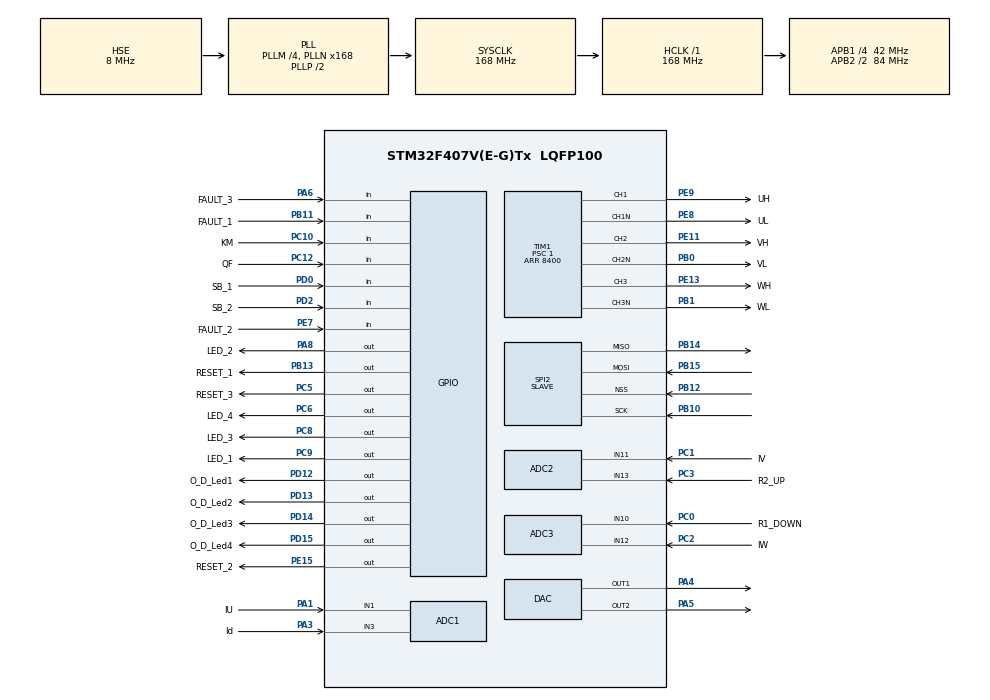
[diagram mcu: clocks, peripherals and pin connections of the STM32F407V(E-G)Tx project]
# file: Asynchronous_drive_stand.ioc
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Dma.SPI2_TX.2.PeriphInc=DMA_PINC_DISABLE
Dma.SPI2_TX.2.MemInc=DMA_MINC_ENABLE
PD12.GPIO_Label=O_D_Led1
PH0-OSC_IN.Signal=RCC_OSC_IN
ADC2.SamplingTime-1\#ChannelRegularConversion=ADC_SAMPLETIME_3CYCLES
SPI2.VirtualType=VM_SLAVE
PB10.Mode=Full_Duplex_Slave
TIM1.Pulse-PWM\ Generation1\ CH1\ CH1N=4200
PC12.Signal=GPIO_Input
PC6.GPIO_Label=LED_4
PA6.GPIO_Label=FAULT_3
Dma.SPI2_RX.1.Mode=DMA_CIRCULAR
PB13.Signal=GPIO_Output
RCC.SYSCLKSource=RCC_SYSCLKSOURCE_PLLCLK
TIM1.Pulse-PWM\ Generation2\ CH2\ CH2N=4200
Dma.SPI2_RX.1.PeriphDataAlignment=DMA_PDATAALIGN_HALFWORD
RCC.APB2TimFreq_Value=168000000
Dma.ADC1.0.Direction=DMA_PERIPH_TO_MEMORY
PC3.Signal=ADCx_IN13
PD0.Signal=GPIO_Input
Dma.ADC1.0.MemDataAlignment=DMA_MDATAALIGN_HALFWORD
Dma.SPI2_RX.1.FIFOMode=DMA_FIFOMODE_DISABLE
PE9.Signal=S_TIM1_CH1
PB14.Mode=Full_Duplex_Slave
PB1.GPIO_Label=WL
ADC1.DMAAccessMode=ADC_DMAACCESSMODE_1
Dma.ADC1.0.PeriphInc=DMA_PINC_DISABLE
TIM1.DeadTime=250
PA8.Signal=GPIO_Output
VP_TIM1_VS_ClockSourceINT.Mode=Internal
ADC1.SamplingTime-0\#ChannelRegularConversion=ADC_SAMPLETIME_3CYCLES
Mcu.Package=LQFP100
PB1.Signal=TIM1_CH3N
SPI2.Mode=SPI_MODE_SLAVE
PD12.Signal=GPIO_Output
Dma.SPI2_TX.2.Mode=DMA_CIRCULAR
ADC2.Channel-1\#ChannelRegularConversion=ADC_CHANNEL_13
ADC3.Rank-0\#ChannelRegularConversion=1
Dma.SPI2_RX.1.Instance=DMA1_Stream3
RCC.APB2CLKDivider=RCC_HCLK_DIV2
RCC.APB1TimFreq_Value=84000000
Dma.ADC1.0.FIFOMode=DMA_FIFOMODE_DISABLE
TIM1.Period=8400
PD15.Signal=GPIO_Output
ADC2.DMAAccessMode=ADC_DMAACCESSMODE_1
TIM1.OCPolarity_1=TIM_OCPOLARITY_HIGH
TIM1.OCPolarity_3=TIM_OCPOLARITY_HIGH
Dma.ADC1.0.Instance=DMA2_Stream0
TIM1.OCPolarity_2=TIM_OCPOLARITY_HIGH
ADC1.Rank-0\#ChannelRegularConversion=1
TIM3.Channel-Output\ Compare1\ No\ Output=TIM_CHANNEL_1
TIM1.CounterMode=TIM_COUNTERMODE_CENTERALIGNED1
PC2.Signal=ADCx_IN12
PC6.Signal=GPIO_Output
PB11.GPIO_Label=FAULT_1
TIM1.Channel-PWM\ Generation1\ CH1\ CH1N=TIM_CHANNEL_1
PC0.Signal=ADCx_IN10
RCC.APB1CLKDivider=RCC_HCLK_DIV4
PE8.Mode=PWM Generation1 CH1 CH1N
TIM1.Channel-PWM\ Generation2\ CH2\ CH2N=TIM_CHANNEL_2
PA8.GPIO_Label=LED_2
PE8.GPIO_Label=UL
Dma.ADC1.0.Priority=DMA_PRIORITY_LOW
TIM1.Channel-PWM\ Generation3\ CH3\ CH3N=TIM_CHANNEL_3
ADC3.NbrOfConversion=2
PE9.GPIO_Label=UH
PB10.Signal=SPI2_SCK
PB14.Signal=SPI2_MISO
PA5.Signal=COMP_DAC2_group
VP_TIM3_VS_no_output1.Mode=Output Compare1 No Output
TIM1.TIM_MasterOutputTrigger=TIM_TRGO_ENABLE
PE15.Signal=GPIO_Output
TIM3.OCMode_1=TIM_OCMODE_TOGGLE
PE8.Signal=TIM1_CH1N
PA1.GPIO_Label=IU
ADC1.DMAContinuousRequests=ENABLE
TIM1.Pulse-PWM\ Generation3\ CH3\ CH3N=4200
ADC3.Channel-1\#ChannelRegularConversion=ADC_CHANNEL_10
ADC1.ExternalTrigConv=ADC_EXTERNALTRIGCONV_T3_CC1
ADC3.Rank-1\#ChannelRegularConversion=2
ADC1.SamplingTime-1\#ChannelRegularConversion=ADC_SAMPLETIME_3CYCLES
PA4.Signal=COMP_DAC1_group
ADC1.master=1
PE13.GPIO_Label=WH
ADC2.NbrOfConversionFlag=1
PC12.GPIO_Label=QF
ADC1.Rank-1\#ChannelRegularConversion=2
ProjectManager.HeapSize=0x200
PB1.Mode=PWM Generation3 CH3 CH3N
NVIC.TIM1_UP_TIM10_IRQn=true\:0\:0\:false\:false\:true\:true\:true
NVIC.PriorityGroup=NVIC_PRIORITYGROUP_4
PC3.GPIO_Label=R2_UP
SPI2.DataSize=SPI_DATASIZE_16BIT
PD2.Signal=GPIO_Input
PB0.Signal=TIM1_CH2N
Dma.SPI2_RX.1.MemInc=DMA_MINC_ENABLE
PC1.Signal=ADCx_IN11
PD2.GPIO_Label=SB_2
Mcu.Family=STM32F4
SPI2.VirtualNSS=VM_NSSHARD
Dma.SPI2_RX.1.MemDataAlignment=DMA_MDATAALIGN_HALFWORD
RCC.CortexFreq_Value=168000000
ADC2.Channel-0\#ChannelRegularConversion=ADC_CHANNEL_11
PE11.GPIO_Label=VH
PC10.Signal=GPIO_Input
PC0.GPIO_Label=R1_DOWN
PD0.GPIO_Label=SB_1
PB0.GPIO_Label=VL
PB13.GPIO_Label=RESET_1
PB11.Signal=GPIO_Input
PB15.Signal=SPI2_MOSI
ADC3.Channel-0\#ChannelRegularConversion=ADC_CHANNEL_12
Dma.SPI2_RX.1.Direction=DMA_PERIPH_TO_MEMORY
ProjectManager.StackSize=0x400
SH.COMP_DAC2_group.0=DAC_OUT2,DAC_OUT2
PD13.Signal=GPIO_Output
TIM1.Prescaler=1
ADC1.Mode=ADC_TRIPLEMODE_REGSIMULT
RCC.HCLKFreq_Value=168000000
SH.ADCx_IN3.0=ADC1_IN3,IN3
TIM3.Period=4200
Dma.SPI2_TX.2.PeriphDataAlignment=DMA_PDATAALIGN_HALFWORD
Dma.SPI2_TX.2.Instance=DMA1_Stream4
RCC.AHBFreq_Value=168000000
PH0-OSC_IN.Mode=HSE-External-Oscillator
ADC3.SamplingTime-1\#ChannelRegularConversion=ADC_SAMPLETIME_3CYCLES
ADC1.Channel-0\#ChannelRegularConversion=ADC_CHANNEL_1
RCC.HSE_VALUE=8000000
PE13.Signal=S_TIM1_CH3
VP_TIM3_VS_ClockSourceITR.Mode=TriggerSource_ITR0
Dma.SPI2_TX.2.MemDataAlignment=DMA_MDATAALIGN_HALFWORD
PH1-OSC_OUT.Mode=HSE-External-Oscillator
PD13.GPIO_Label=O_D_Led2
PA6.Signal=GPIO_Input
PB12.Mode=NSS_Signal_Hard_Input
Dma.SPI2_TX.2.Priority=DMA_PRIORITY_LOW
ADC2.SamplingTime-0\#ChannelRegularConversion=ADC_SAMPLETIME_3CYCLES
SH.ADCx_IN1.0=ADC1_IN1,IN1
ADC2.NbrOfConversion=2
Dma.Request2=SPI2_TX
Dma.Request1=SPI2_RX
SPI2.Direction=SPI_DIRECTION_2LINES
PC5.Signal=GPIO_Output
PE7.Signal=GPIO_Input
ADC2.Rank-0\#ChannelRegularConversion=1
Dma.Request0=ADC1
PC2.GPIO_Label=IW
VP_TIM3_VS_ClockSourceINT.Mode=Internal
PA3.Signal=ADCx_IN3
RCC.PLLSourceVirtual=RCC_PLLSOURCE_HSE
SH.COMP_DAC1_group.0=DAC_OUT1,DAC_OUT1
SH.ADCx_IN13.0=ADC2_IN13,IN13
ADC2.Mode=ADC_TRIPLEMODE_REGSIMULT
PD15.GPIO_Label=O_D_Led4
TIM1.OffStateIDLEMode=TIM_OSSI_DISABLE
PC10.GPIO_Label=KM
PC9.GPIO_Label=LED_1
PC8.Signal=GPIO_Output
PC8.GPIO_Label=LED_3
Dma.ADC1.0.PeriphDataAlignment=DMA_PDATAALIGN_HALFWORD
SH.ADCx_IN12.0=ADC3_IN12,IN12
ADC3.SamplingTime-0\#ChannelRegularConversion=ADC_SAMPLETIME_3CYCLES
SH.S_TIM1_CH1.0=TIM1_CH1,PWM Generation1 CH1 CH1N
PE15.GPIO_Label=RESET_2
ProjectManager.TargetToolchain=STM32CubeIDE
Dma.ADC1.0.Mode=DMA_CIRCULAR
Dma.SPI2_TX.2.Direction=DMA_MEMORY_TO_PERIPH
Dma.SPI2_TX.2.FIFOMode=DMA_FIFOMODE_DISABLE
ADC1.Channel-1\#ChannelRegularConversion=ADC_CHANNEL_3
PE11.Signal=S_TIM1_CH2
RCC.LSE_VALUE=32768
PA1.Signal=ADCx_IN1
PB0.Mode=PWM Generation2 CH2 CH2N
board=custom
RCC.VCOOutputFreq_Value=336000000
TIM1.OCNPolarity_1=TIM_OCNPOLARITY_HIGH
PB15.Mode=Full_Duplex_Slave
RCC.APB2Freq_Value=84000000
TIM1.OCNPolarity_3=TIM_OCNPOLARITY_HIGH
TIM1.OCNPolarity_2=TIM_OCNPOLARITY_HIGH
SH.ADCx_IN11.0=ADC2_IN11,IN11
Dma.SPI2_RX.1.Priority=DMA_PRIORITY_LOW
SH.S_TIM1_CH2.0=TIM1_CH2,PWM Generation2 CH2 CH2N
PC1.GPIO_Label=IV
PH1-OSC_OUT.Signal=RCC_OSC_OUT
PD14.GPIO_Label=O_D_Led3
TIM1.OffStateRunMode=TIM_OSSR_DISABLE
ADC1.NbrOfConversion=2
Dma.SPI2_RX.1.PeriphInc=DMA_PINC_DISABLE
Mcu.Name=STM32F407V(E-G)Tx
PE7.GPIO_Label=FAULT_2
PD14.Signal=GPIO_Output
RCC.48MHZClocksFreq_Value=84000000
RCC.SYSCLKFreq_VALUE=168000000
PC5.GPIO_Label=RESET_3
TIM3.TIM_MasterSlaveMode=TIM_MASTERSLAVEMODE_ENABLE
Dma.ADC1.0.MemInc=DMA_MINC_ENABLE
SH.ADCx_IN10.0=ADC3_IN10,IN10
SH.S_TIM1_CH3.0=TIM1_CH3,PWM Generation3 CH3 CH3N
RCC.HSI_VALUE=16000000
ADC1.NbrOfConversionFlag=1
RCC.PLLM=4
VP_TIM3_VS_ControllerModeGated.Mode=Gated Mode
RCC.PLLN=168
ADC2.Rank-1\#ChannelRegularConversion=2
PC9.Signal=GPIO_Output
RCC.APB1Freq_Value=42000000
ADC3.NbrOfConversionFlag=1
PB12.Signal=SPI2_NSS
PA3.GPIO_Label=Id

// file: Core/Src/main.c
/* USER CODE BEGIN Header */
/**
  ******************************************************************************
  * @file           : main.c
  * @brief          : Main program body
  ******************************************************************************
  * @attention
  *
  * <h2><center>&copy; Copyright (c) 2019 STMicroelectronics.
  * All rights reserved.</center></h2>
  *
  * This software component is licensed by ST under BSD 3-Clause license,
  * the "License"; You may not use this file except in compliance with the
  * License. You may obtain a copy of the License at:
  *                        opensource.org/licenses/BSD-3-Clause
  *
  ******************************************************************************
  */
/* USER CODE END Header */
#include "main.h"

/* USER CODE BEGIN Includes */
#include "DSP_Kechkin_CM4.h"
/* USER CODE END Includes */

ADC_HandleTypeDef hadc1;
ADC_HandleTypeDef hadc2;
ADC_HandleTypeDef hadc3;
DMA_HandleTypeDef hdma_adc1;

DAC_HandleTypeDef hdac;

SPI_HandleTypeDef hspi2;
DMA_HandleTypeDef hdma_spi2_rx;
DMA_HandleTypeDef hdma_spi2_tx;

TIM_HandleTypeDef htim1;
TIM_HandleTypeDef htim3;

/* USER CODE BEGIN PV */

extern Speed_structure speed;

/* USER CODE END PV */

void SystemClock_Config(void);
static void MX_GPIO_Init(void);
static void MX_DMA_Init(void);
static void MX_ADC1_Init(void);
static void MX_ADC2_Init(void);
static void MX_ADC3_Init(void);
static void MX_TIM1_Init(void);
static void MX_TIM3_Init(void);
static void MX_DAC_Init(void);
static void MX_SPI2_Init(void);

int main(void)
{

  /* MCU Configuration--------------------------------------------------------*/

  /* Reset of all peripherals, Initializes the Flash interface and the Systick. */
  HAL_Init();

  /* Configure the system clock */
  SystemClock_Config();

  /* Initialize all configured peripherals */
  MX_GPIO_Init();
  MX_DMA_Init();
  MX_ADC1_Init();
  MX_ADC2_Init();
  MX_ADC3_Init();
  MX_TIM1_Init();
  MX_TIM3_Init();
  MX_DAC_Init();
  MX_SPI2_Init();
  /* USER CODE BEGIN 2 */
Device_DAC_ON();

Device_ADC_Start(Device_ADC_Buf,6);

/*                                    ENCODER SPI-DMA INIT                          */
  HAL_SPI_Init(&hspi2);
  HAL_SPI_MspInit(&hspi2);
  HAL_NVIC_DisableIRQ(DMA1_Stream3_IRQn);
  HAL_NVIC_DisableIRQ(DMA1_Stream4_IRQn);
  HAL_SPI_Receive_DMA(&hspi2, (uint8_t*)&speed.angle_f[0], 1);

HAL_Delay(600);

Device_MainTimerStart();
Device_PWM_Channels_ON();

  /* USER CODE END 2 */

  /* Infinite loop */
  while (1)
  {

    /* USER CODE BEGIN 3 */

  //Device_DAC_Out_PA4_CH1(enc_angle/8200.0f);
  Device_Toggle_Led(O_D_Led1_GPIO_Port,O_D_Led1_Pin);
  HAL_Delay(500);
  Device_Toggle_Led(O_D_Led2_GPIO_Port,O_D_Led2_Pin);
  HAL_Delay(500);
  Device_Toggle_Led(O_D_Led3_GPIO_Port,O_D_Led3_Pin);
  HAL_Delay(500);
  Device_Toggle_Led(O_D_Led4_GPIO_Port,O_D_Led4_Pin);
  HAL_Delay(500);

  }
  /* USER CODE END 3 */
}

void SystemClock_Config(void)
{
  RCC_OscInitTypeDef RCC_OscInitStruct = {0};
  RCC_ClkInitTypeDef RCC_ClkInitStruct = {0};

  /** Configure the main internal regulator output voltage
  */
  __HAL_RCC_PWR_CLK_ENABLE();
  __HAL_PWR_VOLTAGESCALING_CONFIG(PWR_REGULATOR_VOLTAGE_SCALE1);
  /** Initializes the RCC Oscillators according to the specified parameters
  * in the RCC_OscInitTypeDef structure.
  */
  RCC_OscInitStruct.OscillatorType = RCC_OSCILLATORTYPE_HSE;
  RCC_OscInitStruct.HSEState = RCC_HSE_ON;
  RCC_OscInitStruct.PLL.PLLState = RCC_PLL_ON;
  RCC_OscInitStruct.PLL.PLLSource = RCC_PLLSOURCE_HSE;
  RCC_OscInitStruct.PLL.PLLM = 4;
  RCC_OscInitStruct.PLL.PLLN = 168;
  RCC_OscInitStruct.PLL.PLLP = RCC_PLLP_DIV2;
  RCC_OscInitStruct.PLL.PLLQ = 4;
  if (HAL_RCC_OscConfig(&RCC_OscInitStruct) != HAL_OK)
  {
    Error_Handler();
  }
  /** Initializes the CPU, AHB and APB buses clocks
  */
  RCC_ClkInitStruct.ClockType = RCC_CLOCKTYPE_HCLK|RCC_CLOCKTYPE_SYSCLK
                              |RCC_CLOCKTYPE_PCLK1|RCC_CLOCKTYPE_PCLK2;
  RCC_ClkInitStruct.SYSCLKSource = RCC_SYSCLKSOURCE_PLLCLK;
  RCC_ClkInitStruct.AHBCLKDivider = RCC_SYSCLK_DIV1;
  RCC_ClkInitStruct.APB1CLKDivider = RCC_HCLK_DIV4;
  RCC_ClkInitStruct.APB2CLKDivider = RCC_HCLK_DIV2;

  if (HAL_RCC_ClockConfig(&RCC_ClkInitStruct, FLASH_LATENCY_5) != HAL_OK)
  {
    Error_Handler();
  }
}

static void MX_ADC1_Init(void)
{

  ADC_MultiModeTypeDef multimode = {0};
  ADC_ChannelConfTypeDef sConfig = {0};

  /** Configure the global features of the ADC (Clock, Resolution, Data Alignment and number of conversion)
  */
  hadc1.Instance = ADC1;
  hadc1.Init.ClockPrescaler = ADC_CLOCK_SYNC_PCLK_DIV4;
  hadc1.Init.Resolution = ADC_RESOLUTION_12B;
  hadc1.Init.ScanConvMode = ENABLE;
  hadc1.Init.ContinuousConvMode = DISABLE;
  hadc1.Init.DiscontinuousConvMode = DISABLE;
  hadc1.Init.ExternalTrigConvEdge = ADC_EXTERNALTRIGCONVEDGE_RISING;
  hadc1.Init.ExternalTrigConv = ADC_EXTERNALTRIGCONV_T3_CC1;
  hadc1.Init.DataAlign = ADC_DATAALIGN_RIGHT;
  hadc1.Init.NbrOfConversion = 2;
  hadc1.Init.DMAContinuousRequests = ENABLE;
  hadc1.Init.EOCSelection = ADC_EOC_SINGLE_CONV;
  if (HAL_ADC_Init(&hadc1) != HAL_OK)
  {
    Error_Handler();
  }
  /** Configure the ADC multi-mode
  */
  multimode.Mode = ADC_TRIPLEMODE_REGSIMULT;
  multimode.DMAAccessMode = ADC_DMAACCESSMODE_1;
  multimode.TwoSamplingDelay = ADC_TWOSAMPLINGDELAY_5CYCLES;
  if (HAL_ADCEx_MultiModeConfigChannel(&hadc1, &multimode) != HAL_OK)
  {
    Error_Handler();
  }
  /** Configure for the selected ADC regular channel its corresponding rank in the sequencer and its sample time.
  */
  sConfig.Channel = ADC_CHANNEL_1;
  sConfig.Rank = 1;
  sConfig.SamplingTime = ADC_SAMPLETIME_3CYCLES;
  if (HAL_ADC_ConfigChannel(&hadc1, &sConfig) != HAL_OK)
  {
    Error_Handler();
  }
  /** Configure for the selected ADC regular channel its corresponding rank in the sequencer and its sample time.
  */
  sConfig.Channel = ADC_CHANNEL_3;
  sConfig.Rank = 2;
  if (HAL_ADC_ConfigChannel(&hadc1, &sConfig) != HAL_OK)
  {
    Error_Handler();
  }

}

static void MX_ADC2_Init(void)
{

  ADC_ChannelConfTypeDef sConfig = {0};

  /** Configure the global features of the ADC (Clock, Resolution, Data Alignment and number of conversion)
  */
  hadc2.Instance = ADC2;
  hadc2.Init.ClockPrescaler = ADC_CLOCK_SYNC_PCLK_DIV4;
  hadc2.Init.Resolution = ADC_RESOLUTION_12B;
  hadc2.Init.ScanConvMode = ENABLE;
  hadc2.Init.ContinuousConvMode = DISABLE;
  hadc2.Init.DiscontinuousConvMode = DISABLE;
  hadc2.Init.DataAlign = ADC_DATAALIGN_RIGHT;
  hadc2.Init.NbrOfConversion = 2;
  hadc2.Init.DMAContinuousRequests = DISABLE;
  hadc2.Init.EOCSelection = ADC_EOC_SINGLE_CONV;
  if (HAL_ADC_Init(&hadc2) != HAL_OK)
  {
    Error_Handler();
  }
  /** Configure for the selected ADC regular channel its corresponding rank in the sequencer and its sample time.
  */
  sConfig.Channel = ADC_CHANNEL_11;
  sConfig.Rank = 1;
  sConfig.SamplingTime = ADC_SAMPLETIME_3CYCLES;
  if (HAL_ADC_ConfigChannel(&hadc2, &sConfig) != HAL_OK)
  {
    Error_Handler();
  }
  /** Configure for the selected ADC regular channel its corresponding rank in the sequencer and its sample time.
  */
  sConfig.Channel = ADC_CHANNEL_13;
  sConfig.Rank = 2;
  if (HAL_ADC_ConfigChannel(&hadc2, &sConfig) != HAL_OK)
  {
    Error_Handler();
  }

}

static void MX_ADC3_Init(void)
{

  ADC_ChannelConfTypeDef sConfig = {0};

  /** Configure the global features of the ADC (Clock, Resolution, Data Alignment and number of conversion)
  */
  hadc3.Instance = ADC3;
  hadc3.Init.ClockPrescaler = ADC_CLOCK_SYNC_PCLK_DIV4;
  hadc3.Init.Resolution = ADC_RESOLUTION_12B;
  hadc3.Init.ScanConvMode = ENABLE;
  hadc3.Init.ContinuousConvMode = DISABLE;
  hadc3.Init.DiscontinuousConvMode = DISABLE;
  hadc3.Init.DataAlign = ADC_DATAALIGN_RIGHT;
  hadc3.Init.NbrOfConversion = 2;
  hadc3.Init.DMAContinuousRequests = DISABLE;
  hadc3.Init.EOCSelection = ADC_EOC_SINGLE_CONV;
  if (HAL_ADC_Init(&hadc3) != HAL_OK)
  {
    Error_Handler();
  }
  /** Configure for the selected ADC regular channel its corresponding rank in the sequencer and its sample time.
  */
  sConfig.Channel = ADC_CHANNEL_12;
  sConfig.Rank = 1;
  sConfig.SamplingTime = ADC_SAMPLETIME_3CYCLES;
  if (HAL_ADC_ConfigChannel(&hadc3, &sConfig) != HAL_OK)
  {
    Error_Handler();
  }
  /** Configure for the selected ADC regular channel its corresponding rank in the sequencer and its sample time.
  */
  sConfig.Channel = ADC_CHANNEL_10;
  sConfig.Rank = 2;
  if (HAL_ADC_ConfigChannel(&hadc3, &sConfig) != HAL_OK)
  {
    Error_Handler();
  }

}

static void MX_DAC_Init(void)
{

  DAC_ChannelConfTypeDef sConfig = {0};

  /** DAC Initialization
  */
  hdac.Instance = DAC;
  if (HAL_DAC_Init(&hdac) != HAL_OK)
  {
    Error_Handler();
  }
  /** DAC channel OUT1 config
  */
  sConfig.DAC_Trigger = DAC_TRIGGER_NONE;
  sConfig.DAC_OutputBuffer = DAC_OUTPUTBUFFER_ENABLE;
  if (HAL_DAC_ConfigChannel(&hdac, &sConfig, DAC_CHANNEL_1) != HAL_OK)
  {
    Error_Handler();
  }
  /** DAC channel OUT2 config
  */
  if (HAL_DAC_ConfigChannel(&hdac, &sConfig, DAC_CHANNEL_2) != HAL_OK)
  {
    Error_Handler();
  }

}

static void MX_SPI2_Init(void)
{

  /* SPI2 parameter configuration*/
  hspi2.Instance = SPI2;
  hspi2.Init.Mode = SPI_MODE_SLAVE;
  hspi2.Init.Direction = SPI_DIRECTION_2LINES;
  hspi2.Init.DataSize = SPI_DATASIZE_16BIT;
  hspi2.Init.CLKPolarity = SPI_POLARITY_LOW;
  hspi2.Init.CLKPhase = SPI_PHASE_1EDGE;
  hspi2.Init.NSS = SPI_NSS_HARD_INPUT;
  hspi2.Init.FirstBit = SPI_FIRSTBIT_MSB;
  hspi2.Init.TIMode = SPI_TIMODE_DISABLE;
  hspi2.Init.CRCCalculation = SPI_CRCCALCULATION_DISABLE;
  hspi2.Init.CRCPolynomial = 10;
  if (HAL_SPI_Init(&hspi2) != HAL_OK)
  {
    Error_Handler();
  }

}

static void MX_TIM1_Init(void)
{

  TIM_ClockConfigTypeDef sClockSourceConfig = {0};
  TIM_MasterConfigTypeDef sMasterConfig = {0};
  TIM_OC_InitTypeDef sConfigOC = {0};
  TIM_BreakDeadTimeConfigTypeDef sBreakDeadTimeConfig = {0};

  htim1.Instance = TIM1;
  htim1.Init.Prescaler = 1;
  htim1.Init.CounterMode = TIM_COUNTERMODE_CENTERALIGNED1;
  htim1.Init.Period = 8400;
  htim1.Init.ClockDivision = TIM_CLOCKDIVISION_DIV1;
  htim1.Init.RepetitionCounter = 0;
  htim1.Init.AutoReloadPreload = TIM_AUTORELOAD_PRELOAD_DISABLE;
  if (HAL_TIM_Base_Init(&htim1) != HAL_OK)
  {
    Error_Handler();
  }
  sClockSourceConfig.ClockSource = TIM_CLOCKSOURCE_INTERNAL;
  if (HAL_TIM_ConfigClockSource(&htim1, &sClockSourceConfig) != HAL_OK)
  {
    Error_Handler();
  }
  if (HAL_TIM_PWM_Init(&htim1) != HAL_OK)
  {
    Error_Handler();
  }
  sMasterConfig.MasterOutputTrigger = TIM_TRGO_ENABLE;
  sMasterConfig.MasterSlaveMode = TIM_MASTERSLAVEMODE_DISABLE;
  if (HAL_TIMEx_MasterConfigSynchronization(&htim1, &sMasterConfig) != HAL_OK)
  {
    Error_Handler();
  }
  sConfigOC.OCMode = TIM_OCMODE_PWM1;
  sConfigOC.Pulse = 4200;
  sConfigOC.OCPolarity = TIM_OCPOLARITY_HIGH;
  sConfigOC.OCNPolarity = TIM_OCNPOLARITY_HIGH;
  sConfigOC.OCFastMode = TIM_OCFAST_DISABLE;
  sConfigOC.OCIdleState = TIM_OCIDLESTATE_RESET;
  sConfigOC.OCNIdleState = TIM_OCNIDLESTATE_RESET;
  if (HAL_TIM_PWM_ConfigChannel(&htim1, &sConfigOC, TIM_CHANNEL_1) != HAL_OK)
  {
    Error_Handler();
  }
  if (HAL_TIM_PWM_ConfigChannel(&htim1, &sConfigOC, TIM_CHANNEL_2) != HAL_OK)
  {
    Error_Handler();
  }
  if (HAL_TIM_PWM_ConfigChannel(&htim1, &sConfigOC, TIM_CHANNEL_3) != HAL_OK)
  {
    Error_Handler();
  }
  sBreakDeadTimeConfig.OffStateRunMode = TIM_OSSR_DISABLE;
  sBreakDeadTimeConfig.OffStateIDLEMode = TIM_OSSI_DISABLE;
  sBreakDeadTimeConfig.LockLevel = TIM_LOCKLEVEL_OFF;
  sBreakDeadTimeConfig.DeadTime = 250;
  sBreakDeadTimeConfig.BreakState = TIM_BREAK_DISABLE;
  sBreakDeadTimeConfig.BreakPolarity = TIM_BREAKPOLARITY_HIGH;
  sBreakDeadTimeConfig.AutomaticOutput = TIM_AUTOMATICOUTPUT_DISABLE;
  if (HAL_TIMEx_ConfigBreakDeadTime(&htim1, &sBreakDeadTimeConfig) != HAL_OK)
  {
    Error_Handler();
  }
  HAL_TIM_MspPostInit(&htim1);

}

static void MX_TIM3_Init(void)
{

  TIM_ClockConfigTypeDef sClockSourceConfig = {0};
  TIM_SlaveConfigTypeDef sSlaveConfig = {0};
  TIM_MasterConfigTypeDef sMasterConfig = {0};
  TIM_OC_InitTypeDef sConfigOC = {0};

  htim3.Instance = TIM3;
  htim3.Init.Prescaler = 0;
  htim3.Init.CounterMode = TIM_COUNTERMODE_UP;
  htim3.Init.Period = 4200;
  htim3.Init.ClockDivision = TIM_CLOCKDIVISION_DIV1;
  htim3.Init.AutoReloadPreload = TIM_AUTORELOAD_PRELOAD_DISABLE;
  if (HAL_TIM_Base_Init(&htim3) != HAL_OK)
  {
    Error_Handler();
  }
  sClockSourceConfig.ClockSource = TIM_CLOCKSOURCE_INTERNAL;
  if (HAL_TIM_ConfigClockSource(&htim3, &sClockSourceConfig) != HAL_OK)
  {
    Error_Handler();
  }
  if (HAL_TIM_OC_Init(&htim3) != HAL_OK)
  {
    Error_Handler();
  }
  sSlaveConfig.SlaveMode = TIM_SLAVEMODE_GATED;
  sSlaveConfig.InputTrigger = TIM_TS_ITR0;
  if (HAL_TIM_SlaveConfigSynchro(&htim3, &sSlaveConfig) != HAL_OK)
  {
    Error_Handler();
  }
  sMasterConfig.MasterOutputTrigger = TIM_TRGO_RESET;
  sMasterConfig.MasterSlaveMode = TIM_MASTERSLAVEMODE_ENABLE;
  if (HAL_TIMEx_MasterConfigSynchronization(&htim3, &sMasterConfig) != HAL_OK)
  {
    Error_Handler();
  }
  sConfigOC.OCMode = TIM_OCMODE_TOGGLE;
  sConfigOC.Pulse = 0;
  sConfigOC.OCPolarity = TIM_OCPOLARITY_HIGH;
  sConfigOC.OCFastMode = TIM_OCFAST_DISABLE;
  if (HAL_TIM_OC_ConfigChannel(&htim3, &sConfigOC, TIM_CHANNEL_1) != HAL_OK)
  {
    Error_Handler();
  }

}

static void MX_DMA_Init(void)
{

  /* DMA controller clock enable */
  __HAL_RCC_DMA2_CLK_ENABLE();
  __HAL_RCC_DMA1_CLK_ENABLE();

}

static void MX_GPIO_Init(void)
{
  GPIO_InitTypeDef GPIO_InitStruct = {0};

  /* GPIO Ports Clock Enable */
  __HAL_RCC_GPIOH_CLK_ENABLE();
  __HAL_RCC_GPIOC_CLK_ENABLE();
  __HAL_RCC_GPIOA_CLK_ENABLE();
  __HAL_RCC_GPIOB_CLK_ENABLE();
  __HAL_RCC_GPIOE_CLK_ENABLE();
  __HAL_RCC_GPIOD_CLK_ENABLE();

  /*Configure GPIO pin Output Level */
  HAL_GPIO_WritePin(GPIOC, RESET_3_Pin|LED_4_Pin|LED_3_Pin|LED_1_Pin, GPIO_PIN_RESET);

  /*Configure GPIO pin Output Level */
  HAL_GPIO_WritePin(RESET_2_GPIO_Port, RESET_2_Pin, GPIO_PIN_RESET);

  /*Configure GPIO pin Output Level */
  HAL_GPIO_WritePin(RESET_1_GPIO_Port, RESET_1_Pin, GPIO_PIN_RESET);

  /*Configure GPIO pin Output Level */
  HAL_GPIO_WritePin(GPIOD, O_D_Led1_Pin|O_D_Led2_Pin|O_D_Led3_Pin|O_D_Led4_Pin, GPIO_PIN_RESET);

  /*Configure GPIO pin Output Level */
  HAL_GPIO_WritePin(LED_2_GPIO_Port, LED_2_Pin, GPIO_PIN_RESET);

  /*Configure GPIO pin : FAULT_3_Pin */
  GPIO_InitStruct.Pin = FAULT_3_Pin;
  GPIO_InitStruct.Mode = GPIO_MODE_INPUT;
  GPIO_InitStruct.Pull = GPIO_NOPULL;
  HAL_GPIO_Init(FAULT_3_GPIO_Port, &GPIO_InitStruct);

  /*Configure GPIO pins : RESET_3_Pin LED_4_Pin LED_3_Pin LED_1_Pin */
  GPIO_InitStruct.Pin = RESET_3_Pin|LED_4_Pin|LED_3_Pin|LED_1_Pin;
  GPIO_InitStruct.Mode = GPIO_MODE_OUTPUT_PP;
  GPIO_InitStruct.Pull = GPIO_NOPULL;
  GPIO_InitStruct.Speed = GPIO_SPEED_FREQ_LOW;
  HAL_GPIO_Init(GPIOC, &GPIO_InitStruct);

  /*Configure GPIO pin : FAULT_2_Pin */
  GPIO_InitStruct.Pin = FAULT_2_Pin;
  GPIO_InitStruct.Mode = GPIO_MODE_INPUT;
  GPIO_InitStruct.Pull = GPIO_NOPULL;
  HAL_GPIO_Init(FAULT_2_GPIO_Port, &GPIO_InitStruct);

  /*Configure GPIO pin : RESET_2_Pin */
  GPIO_InitStruct.Pin = RESET_2_Pin;
  GPIO_InitStruct.Mode = GPIO_MODE_OUTPUT_PP;
  GPIO_InitStruct.Pull = GPIO_NOPULL;
  GPIO_InitStruct.Speed = GPIO_SPEED_FREQ_LOW;
  HAL_GPIO_Init(RESET_2_GPIO_Port, &GPIO_InitStruct);

  /*Configure GPIO pin : FAULT_1_Pin */
  GPIO_InitStruct.Pin = FAULT_1_Pin;
  GPIO_InitStruct.Mode = GPIO_MODE_INPUT;
  GPIO_InitStruct.Pull = GPIO_NOPULL;
  HAL_GPIO_Init(FAULT_1_GPIO_Port, &GPIO_InitStruct);

  /*Configure GPIO pin : RESET_1_Pin */
  GPIO_InitStruct.Pin = RESET_1_Pin;
  GPIO_InitStruct.Mode = GPIO_MODE_OUTPUT_PP;
  GPIO_InitStruct.Pull = GPIO_NOPULL;
  GPIO_InitStruct.Speed = GPIO_SPEED_FREQ_LOW;
  HAL_GPIO_Init(RESET_1_GPIO_Port, &GPIO_InitStruct);

  /*Configure GPIO pins : O_D_Led1_Pin O_D_Led2_Pin O_D_Led3_Pin O_D_Led4_Pin */
  GPIO_InitStruct.Pin = O_D_Led1_Pin|O_D_Led2_Pin|O_D_Led3_Pin|O_D_Led4_Pin;
  GPIO_InitStruct.Mode = GPIO_MODE_OUTPUT_PP;
  GPIO_InitStruct.Pull = GPIO_NOPULL;
  GPIO_InitStruct.Speed = GPIO_SPEED_FREQ_LOW;
  HAL_GPIO_Init(GPIOD, &GPIO_InitStruct);

  /*Configure GPIO pin : LED_2_Pin */
  GPIO_InitStruct.Pin = LED_2_Pin;
  GPIO_InitStruct.Mode = GPIO_MODE_OUTPUT_PP;
  GPIO_InitStruct.Pull = GPIO_NOPULL;
  GPIO_InitStruct.Speed = GPIO_SPEED_FREQ_LOW;
  HAL_GPIO_Init(LED_2_GPIO_Port, &GPIO_InitStruct);

  /*Configure GPIO pins : KM_Pin QF_Pin */
  GPIO_InitStruct.Pin = KM_Pin|QF_Pin;
  GPIO_InitStruct.Mode = GPIO_MODE_INPUT;
  GPIO_InitStruct.Pull = GPIO_NOPULL;
  HAL_GPIO_Init(GPIOC, &GPIO_InitStruct);

  /*Configure GPIO pins : SB_1_Pin SB_2_Pin */
  GPIO_InitStruct.Pin = SB_1_Pin|SB_2_Pin;
  GPIO_InitStruct.Mode = GPIO_MODE_INPUT;
  GPIO_InitStruct.Pull = GPIO_NOPULL;
  HAL_GPIO_Init(GPIOD, &GPIO_InitStruct);

}

/* USER CODE BEGIN 4 */
void Device_MainTimerStart(void)
{
HAL_TIM_Base_Start_IT(&htim1);
}

void Device_MainTimerStop(void)
{
HAL_TIM_Base_Stop_IT(&htim1);
}

void Device_DAC_ON(void)
{
  HAL_DAC_Start(&hdac,DAC_CHANNEL_1);
  HAL_DAC_Start(&hdac,DAC_CHANNEL_2);
}
void Device_ADC_Start(unsigned short *Device_ADC_Buf,unsigned short Lenght)
{
  /*  x        1        2        x
ADC1  x,       iU,      id,       x.
ADC2  x,       iV,      R2,       x.
ADC3  x,       iW,      R1,       x.
*/
        __HAL_ADC_ENABLE(&hadc2);
	__HAL_ADC_ENABLE(&hadc3);
HAL_ADCEx_MultiModeStart_DMA(&hadc1, (uint32_t*)Device_ADC_Buf, Lenght);
__HAL_DMA_DISABLE_IT(&hdma_adc1, DMA_IT_TC);
__HAL_DMA_DISABLE_IT(&hdma_adc1, DMA_IT_HT);
__HAL_DMA_DISABLE_IT(&hdma_adc1, DMA_IT_TE);
__HAL_DMA_DISABLE_IT(&hdma_adc1, DMA_IT_FE);
__HAL_DMA_DISABLE_IT(&hdma_adc1, DMA_IT_DME);
HAL_TIM_OC_Start(&htim3, TIM_CHANNEL_1);
}

void Device_PWM_Channels_ON(void)
{
TIM_CCxChannelCmd(TIM1, TIM_CHANNEL_1, TIM_CCx_ENABLE | TIM_CCxN_ENABLE);
TIM_CCxChannelCmd(TIM1, TIM_CHANNEL_2, TIM_CCx_ENABLE | TIM_CCxN_ENABLE);
TIM_CCxChannelCmd(TIM1, TIM_CHANNEL_3, TIM_CCx_ENABLE | TIM_CCxN_ENABLE);
__HAL_TIM_MOE_ENABLE(&htim1);
}

void Device_PWM_Channels_OFF(void)
{
TIM_CCxChannelCmd(TIM1, TIM_CHANNEL_1, TIM_CCx_DISABLE | TIM_CCxN_DISABLE);
TIM_CCxChannelCmd(TIM1, TIM_CHANNEL_2, TIM_CCx_DISABLE | TIM_CCxN_DISABLE);
TIM_CCxChannelCmd(TIM1, TIM_CHANNEL_3, TIM_CCx_DISABLE | TIM_CCxN_DISABLE);
__HAL_TIM_MOE_DISABLE(&htim1);
}

void Device_Toggle_Led(GPIO_TypeDef *LED_GPIO_Port, uint16_t LED_Pin)
{
  HAL_GPIO_TogglePin(LED_GPIO_Port, LED_Pin);
}

void Device_On_Led(GPIO_TypeDef *LED_GPIO_Port, uint16_t LED_Pin)
{
  LED_GPIO_Port->BSRR = LED_Pin;
}

void Device_Off_Led(GPIO_TypeDef *LED_GPIO_Port, uint16_t LED_Pin)
{
  LED_GPIO_Port->BSRR = LED_Pin<<16;
}

void Device_DAC_Out_PA4_CH1(float PA4_ch1)
{
    HAL_DAC_SetValue(&hdac,DAC_CHANNEL_1,DAC_ALIGN_12B_R,(int)(PA4_ch1*4096.0f));
}
void Device_DAC_Out_PA5_CH2(float PA5_ch2)
{
    HAL_DAC_SetValue(&hdac,DAC_CHANNEL_2,DAC_ALIGN_12B_R,(int)(PA5_ch2*4096.0f));
}
/* USER CODE END 4 */

void Error_Handler(void)
{
}

/************************ (C) COPYRIGHT STMicroelectronics *****END OF FILE****/
